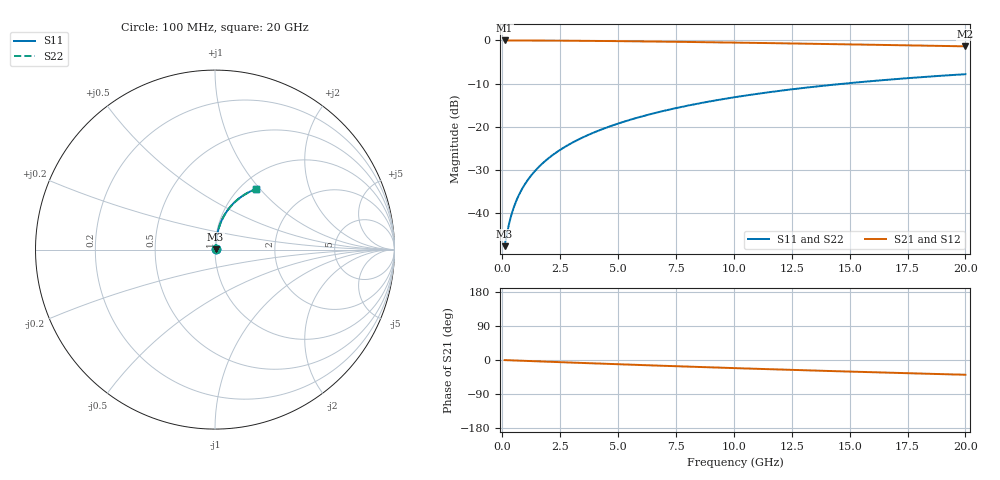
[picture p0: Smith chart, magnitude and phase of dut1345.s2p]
! Touchstone file exported from HFSS 2024.1.0
!  File:  C:/UserFiles/LocalFiles/RDL_TSV_Batchsim/temp_RDL_top_1345_1780365998.aedt
!  Generated:  10:08:46 AM Jun  2, 2026
!  Design:  RDL_top
!  Project:  temp_RDL_top_1345_1780365998
!  Setup:  Setup1
!  Solution:  Sweep
! Variables:
!  dtsv = 10.80580581um
!  hbump = 3um
!  htsv = 80.29um
!  ldown = 100um
!  lrdl = 502.1um
!  p = 40
!  p1 = 52.25um
!  rhole = 1um
!  t = 450um
!  tdown = 3.915915916um
!  trdl = 3.02um
!  wdown = 15.38538539um
!  wrdl = 17.74um
# GHz S MA R 50.000000
! Terminal data exported
! Port[1] = Box2_T1
! Port[2] = Box2_T2
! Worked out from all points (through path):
!   200 points, 100 MHz to 20 GHz, reference 50 ohm
!   highest |S21| = -0.03 dB at 100 MHz (marker M1); lowest = -1.4 dB at 20 GHz (marker M2)
!   group delay of S21, straight-line fit = 5.39 ps
!   lowest |S11| = -47.6 dB at 100 MHz (marker M3), VSWR 1.01, Z = 50.4 + j0.232 ohm
!   |S11| at or under -10 dB: start of sweep to 14.78 GHz
!   |S22| runs from -47.6 to -7.8 dB; largest |S21 - S12| = 2.6e-15
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0.1  0.004186 33.4  0.9965 -0.2  0.9965 -0.2  0.004186 33.4
! Gamma 0 0 0 0
! Port Impedance 50 0 50 0
0.2  0.005815 51.9  0.9964 -0.5  0.9964 -0.5  0.005815 51.9
0.3  0.007751 61.3  0.9963 -0.7  0.9963 -0.7  0.007751 61.3
0.4  0.009779 66.7  0.9961 -0.9  0.9961 -0.9  0.009778 66.7
0.5  0.01183 70.2  0.9959 -1.2  0.9959 -1.2  0.01183 70.2
0.6  0.0139 72.7  0.9958 -1.4  0.9958 -1.4  0.0139 72.7
0.8  0.01806 75.9  0.9954 -1.9  0.9954 -1.9  0.01806 75.9
1.1  0.02435 78.7  0.9949 -2.5  0.9949 -2.5  0.02435 78.7
1.3  0.02857 79.9  0.9945 -3.0  0.9945 -3.0  0.02857 79.9
1.6  0.03495 81.0  0.9938 -3.7  0.9938 -3.7  0.03495 81.0
2.1  0.04566 81.9  0.9925 -4.8  0.9925 -4.8  0.04566 81.9
2.7  0.05863 82.3  0.9904 -6.2  0.9904 -6.2  0.05863 82.3
3.5  0.07608 82.1  0.9871 -7.9  0.9871 -7.9  0.07608 82.1
4.2  0.09148 81.6  0.9836 -9.5  0.9836 -9.5  0.09148 81.6
5  0.1092 80.8  0.979 -11.2  0.979 -11.2  0.1092 80.8
5.9  0.1292 79.7  0.9733 -13.1  0.9733 -13.1  0.1292 79.7
6.8  0.1492 78.4  0.967 -15.0  0.967 -15.0  0.1492 78.4
8.4  0.1847 75.9  0.9549 -18.2  0.9549 -18.2  0.1846 75.8
10.1  0.2216 73.0  0.9411 -21.6  0.9411 -21.6  0.2215 72.9
13.4  0.2896 67.1  0.9123 -27.7  0.9123 -27.7  0.2896 67.1
16.7  0.3514 61.4  0.8824 -33.5  0.8824 -33.5  0.3514 61.4
20  0.4063 56.0  0.8521 -38.9  0.8521 -38.9  0.4062 56.0
